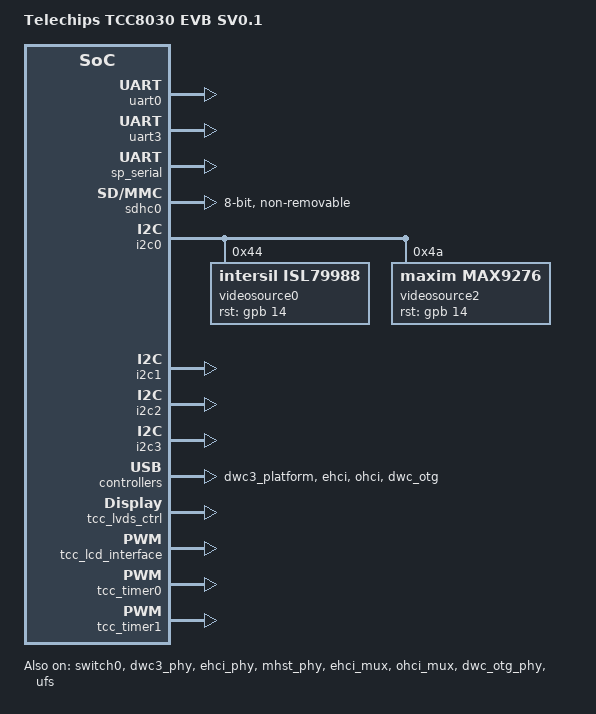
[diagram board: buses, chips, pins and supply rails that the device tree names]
// SPDX-License-Identifier: (GPL-2.0-or-later OR MIT)
/*
 * Copyright (C) Telechips Inc.
 */

/dts-v1/;

#include "tcc803x.dtsi"
#include "tcc8030-pinctrl.dtsi"

/ {
	model = "Telechips TCC8030 EVB SV0.1";
	board-id = <TCC_BOARD_ID_TCC8030_EVB>;
	board-rev = <0x0>;
	interrupt-parent = <&gic0>;
};

&chosen {
	stdout-path = &uart0;
};

&cpus {
	cpu@0 {
		status = "okay";
	};
};

&gic0 {
	status = "okay";
};

&uart0 {
	pinctrl-names = "default";
	pinctrl-0 = <&uart18_data>;
	status = "okay";
	u-boot,dm-pre-reloc;
};

/* SP UART */
&uart3 {
	pinctrl-names = "default";
	pinctrl-0 = <&uart28_data>;
	status = "okay";
	u-boot,dm-pre-reloc;
};

&sp_serial {
	status = "okay";
	serial_sel = <&uart3>;
	u-boot,dm-pre-reloc;
};

#if 0
&mbox0 {
	status = "okay";
	u-boot,dm-pre-reloc;
};
#endif

/* eMMC */
&sdhc0 {
	pinctrl-names = "default";
	pinctrl-0 = <&sd0_clk>, <&sd0_cmd>, <&sd0_bus8>, <&sd0_strb>;
	bus-width = <8>;
	max-frequency = <200000000>;
	status = "okay";

	tcc-mmc-taps = <0xF 0xF 0xF 0xF>;
	tcc-mmc-hs400-pos-tap = <0x6>;
	tcc-mmc-hs400-neg-tap = <0xB>;

	non-removable;
//	mmc-hs200-1_8v;
//	mmc-hs400-1_8v;
};

&i2c0 {
	pinctrl-names = "default";
	pinctrl-0 = <&i2c12_bus>;
	port-mux = <12>;
	status = "okay";

	videosource0: videodecoder_isl79988 {
		compatible	= "intersil,isl79988";
		pinctrl-names	= "idle", "active";
		pinctrl-0	= <&cam0_idle>;
		pinctrl-1	= <&cam0_rst &cam0_clk &cam0_hsync &cam0_vsync
				   &cam0_fld &cam0_de &cam0_data>;
		rst-gpios	= <&gpb 14 GPIO_ACTIVE_HIGH>;
		reg		= <0x44>;	// 0x88 >> 1
		cifport		= <0>;
	};
#if 1
	videosource2: deserializer_max9276 {
		compatible	= "maxim,max9276";
		pinctrl-names	= "idle", "active";
		pinctrl-0	= <&cam0_idle>;
		pinctrl-1	= <&cam0_rst &cam0_clk &cam0_hsync &cam0_vsync
				   &cam0_fld &cam0_de &cam0_data>;
		rst-gpios	= <&gpb 14 GPIO_ACTIVE_HIGH>;
		reg		= <0x4A>;	// 0x94 >> 1
		cifport		= <0>;
	};
#else
	videosource2: deserializer_max9276 {
		compatible	= "maxim,max9276";
		pinctrl-names	= "idle", "active";
		pinctrl-0	= <&cam1_idle>;
		pinctrl-1	= <&cam1_rst &cam1_clk &cam1_hsync &cam1_vsync
				   &cam1_fld &cam1_de &cam1_data>;
		rst-gpios	= <&gpma 21 GPIO_ACTIVE_HIGH>;
		reg		= <0x4A>;	// 0x94 >> 1
		cifport		= <1>;
	};
#endif
};

&i2c1 {
	pinctrl-names = "default";
	pinctrl-0 = <&i2c13_bus>;
	port-mux = <13>;
	status = "okay";
};

&i2c2 {
	pinctrl-names = "default";
	pinctrl-0 = <&i2c20_bus>;
	port-mux = <20>;
	status = "okay";
};

&i2c3 {
	pinctrl-names = "default";
	pinctrl-0 = <&i2c11_bus>;
	port-mux = <11>;
	status = "okay";
};

&switch0 {
	status = "okay";

	pinctrl-names = "default";
	pinctrl-0 = <&switch_ma15>;

	switch-gpios = <&gpma 15 1>;
	switch-active = <1>;
};

&dwc3_phy {
	status = "okay";
};

&dwc3_platform {
	status = "okay";
};

&dwc3 {
	pinctrl-names = "vbus_on", "vbus_off";
	pinctrl-0 = <&usb30_vbus_pwr_ctrl_on>;
	pinctrl-1 = <&usb30_vbus_pwr_ctrl_off>;
};

&ehci_phy {
	status = "okay";
};

&mhst_phy {
	status = "okay";
};

&ehci {
	pinctrl-names = "vbus_on", "vbus_off";
	pinctrl-0 = <&usb20_vbus_pwr_ctrl_on>;
	pinctrl-1 = <&usb20_vbus_pwr_ctrl_off>;
	status = "okay";
};

&ehci_mux {
	pinctrl-names = "vbus_on", "vbus_off";
	pinctrl-0 = <&usb20_mux_vbus_pwr_ctrl_on>;
	pinctrl-1 = <&usb20_mux_vbus_pwr_ctrl_off>;
	status = "okay";
};

&ohci {
	status = "okay";
};

&ohci_mux {
	status = "okay";
};

&dwc_otg_phy {
	status = "okay";
};

&dwc_otg {
	pinctrl-names = "vbus_on", "vbus_off";
	pinctrl-0 = <&usb20_mux_vbus_pwr_ctrl_on>;
	pinctrl-1 = <&usb20_mux_vbus_pwr_ctrl_off>;
	status= "okay";
};

&tcc_lvds_ctrl{
	mboxes = <&multi_mbox0 1>;
	status = "okay";
};

&tcc_lcd_interface{
	board-type = <1>; // tcc803x evb
	status = "okay";
};

&ufs{
	status = "okay";
};

&tcc_timer0 {
	/* dummy timer */
	status = "okay";
};

&tcc_timer1 {
	/* for earlycamera */
	status = "okay";
};
